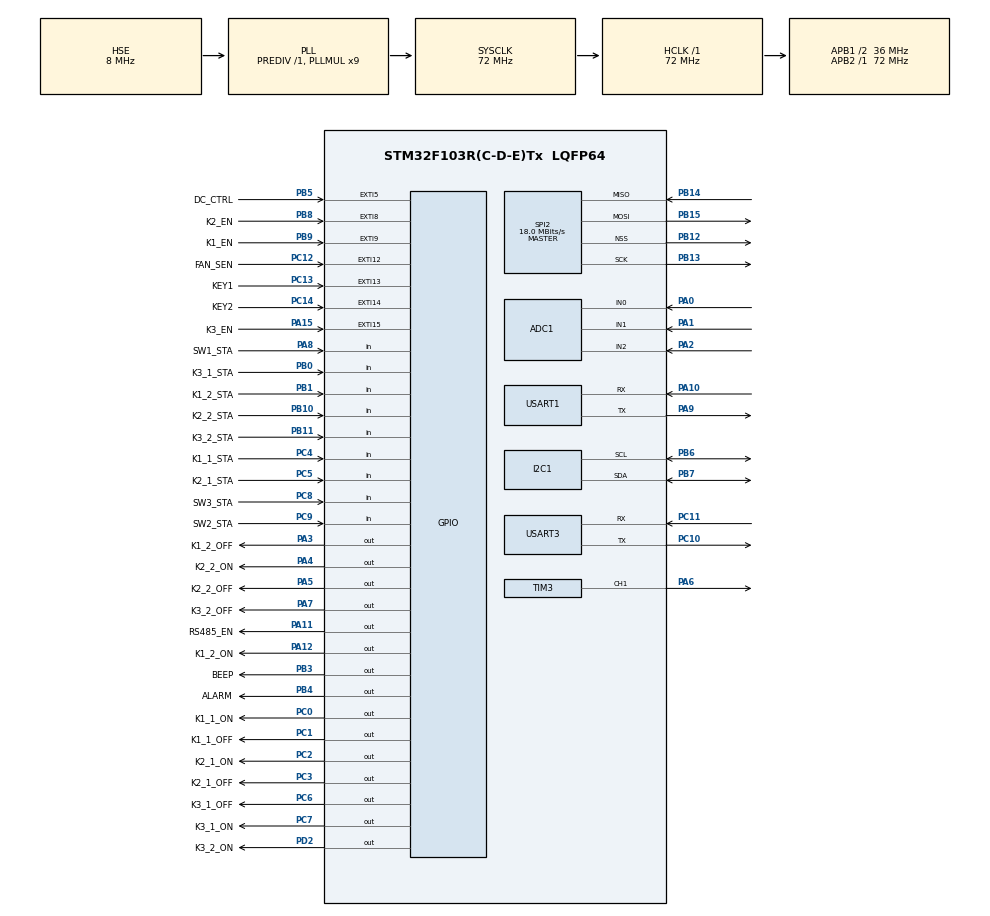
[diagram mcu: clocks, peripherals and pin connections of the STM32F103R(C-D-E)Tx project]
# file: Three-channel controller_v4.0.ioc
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ADC1.Channel-0\#ChannelRegularConversion=ADC_CHANNEL_0
ADC1.Channel-1\#ChannelRegularConversion=ADC_CHANNEL_1
ADC1.Channel-2\#ChannelRegularConversion=ADC_CHANNEL_2
ADC1.ContinuousConvMode=ENABLE
ADC1.NbrOfConversion=3
ADC1.NbrOfConversionFlag=1
ADC1.Rank-0\#ChannelRegularConversion=1
ADC1.Rank-1\#ChannelRegularConversion=2
ADC1.Rank-2\#ChannelRegularConversion=3
ADC1.SamplingTime-0\#ChannelRegularConversion=ADC_SAMPLETIME_55CYCLES_5
ADC1.SamplingTime-1\#ChannelRegularConversion=ADC_SAMPLETIME_55CYCLES_5
ADC1.SamplingTime-2\#ChannelRegularConversion=ADC_SAMPLETIME_55CYCLES_5
ADC1.master=1
Dma.ADC1.0.Direction=DMA_PERIPH_TO_MEMORY
Dma.ADC1.0.Instance=DMA1_Channel1
Dma.ADC1.0.MemDataAlignment=DMA_MDATAALIGN_HALFWORD
Dma.ADC1.0.MemInc=DMA_MINC_ENABLE
Dma.ADC1.0.Mode=DMA_CIRCULAR
Dma.ADC1.0.PeriphDataAlignment=DMA_PDATAALIGN_HALFWORD
Dma.ADC1.0.PeriphInc=DMA_PINC_DISABLE
Dma.ADC1.0.Priority=DMA_PRIORITY_LOW
Dma.Request0=ADC1
Mcu.Family=STM32F1
Mcu.Name=STM32F103R(C-D-E)Tx
Mcu.Package=LQFP64
NVIC.ADC1_2_IRQn=true\:5\:0\:true\:false\:true\:true\:true\:true
NVIC.EXTI15_10_IRQn=true\:4\:0\:true\:false\:true\:true\:true\:true
NVIC.EXTI9_5_IRQn=true\:4\:0\:true\:false\:true\:true\:true\:true
NVIC.PriorityGroup=NVIC_PRIORITYGROUP_4
NVIC.USART3_IRQn=true\:0\:0\:false\:false\:true\:true\:true\:true
PA0-WKUP.Signal=ADCx_IN0
PA1.Signal=ADCx_IN1
PA10.Mode=Asynchronous
PA10.Signal=USART1_RX
PA11.GPIO_Label=RS485_EN
PA11.GPIO_PuPd=GPIO_PULLDOWN
PA11.GPIO_Speed=GPIO_SPEED_FREQ_HIGH
PA11.PinState=GPIO_PIN_RESET
PA11.Signal=GPIO_Output
PA12.GPIO_Label=K1_2_ON
PA12.GPIO_PuPd=GPIO_PULLUP
PA12.GPIO_Speed=GPIO_SPEED_FREQ_HIGH
PA12.PinState=GPIO_PIN_SET
PA12.Signal=GPIO_Output
PA13.Mode=Serial_Wire
PA13.Signal=SYS_JTMS-SWDIO
PA14.Mode=Serial_Wire
PA14.Signal=SYS_JTCK-SWCLK
PA15.GPIO_Label=K3_EN
PA15.GPIO_ModeDefaultEXTI=GPIO_MODE_IT_RISING_FALLING
PA15.GPIO_PuPd=GPIO_PULLUP
PA15.Signal=GPXTI15
PA2.Signal=ADCx_IN2
PA3.GPIO_Label=K1_2_OFF
PA3.GPIO_PuPd=GPIO_PULLUP
PA3.GPIO_Speed=GPIO_SPEED_FREQ_HIGH
PA3.PinState=GPIO_PIN_SET
PA3.Signal=GPIO_Output
PA4.GPIO_Label=K2_2_ON
PA4.GPIO_PuPd=GPIO_PULLUP
PA4.GPIO_Speed=GPIO_SPEED_FREQ_HIGH
PA4.PinState=GPIO_PIN_SET
PA4.Signal=GPIO_Output
PA5.GPIO_Label=K2_2_OFF
PA5.GPIO_PuPd=GPIO_PULLUP
PA5.GPIO_Speed=GPIO_SPEED_FREQ_HIGH
PA5.PinState=GPIO_PIN_SET
PA5.Signal=GPIO_Output
PA6.Signal=S_TIM3_CH1
PA7.GPIO_Label=K3_2_OFF
PA7.GPIO_PuPd=GPIO_PULLUP
PA7.GPIO_Speed=GPIO_SPEED_FREQ_HIGH
PA7.PinState=GPIO_PIN_SET
PA7.Signal=GPIO_Output
PA8.GPIO_Label=SW1_STA
PA8.GPIO_PuPd=GPIO_PULLDOWN
PA8.Signal=GPIO_Input
PA9.Mode=Asynchronous
PA9.Signal=USART1_TX
PB0.GPIO_Label=K3_1_STA
PB0.GPIO_PuPd=GPIO_PULLDOWN
PB0.Signal=GPIO_Input
PB1.GPIO_Label=K1_2_STA
PB1.GPIO_PuPd=GPIO_PULLDOWN
PB1.Signal=GPIO_Input
PB10.GPIO_Label=K2_2_STA
PB10.GPIO_PuPd=GPIO_PULLDOWN
PB10.Signal=GPIO_Input
PB11.GPIO_Label=K3_2_STA
PB11.GPIO_PuPd=GPIO_PULLDOWN
PB11.Signal=GPIO_Input
PB12.Mode=NSS_Signal_Hard_Output
PB12.Signal=SPI2_NSS
PB13.Mode=Full_Duplex_Master
PB13.Signal=SPI2_SCK
PB14.Mode=Full_Duplex_Master
PB14.Signal=SPI2_MISO
PB15.Mode=Full_Duplex_Master
PB15.Signal=SPI2_MOSI
PB3.GPIO_Label=BEEP
PB3.GPIO_PuPd=GPIO_PULLUP
PB3.GPIO_Speed=GPIO_SPEED_FREQ_HIGH
PB3.PinState=GPIO_PIN_SET
PB3.Signal=GPIO_Output
PB4.GPIO_Label=ALARM
PB4.GPIO_PuPd=GPIO_PULLUP
PB4.GPIO_Speed=GPIO_SPEED_FREQ_HIGH
PB4.PinState=GPIO_PIN_SET
PB4.Signal=GPIO_Output
PB5.GPIO_Label=DC_CTRL
PB5.GPIO_ModeDefaultEXTI=GPIO_MODE_IT_RISING_FALLING
PB5.GPIO_PuPd=GPIO_PULLUP
PB5.Signal=GPXTI5
PB6.Mode=I2C
PB6.Signal=I2C1_SCL
PB7.Mode=I2C
PB7.Signal=I2C1_SDA
PB8.GPIO_Label=K2_EN
PB8.GPIO_ModeDefaultEXTI=GPIO_MODE_IT_RISING_FALLING
PB8.Signal=GPXTI8
PB9.GPIO_Label=K1_EN
PB9.GPIO_ModeDefaultEXTI=GPIO_MODE_IT_RISING_FALLING
PB9.GPIO_PuPd=GPIO_PULLUP
PB9.Signal=GPXTI9
PC0.GPIO_Label=K1_1_ON
PC0.GPIO_PuPd=GPIO_PULLUP
PC0.GPIO_Speed=GPIO_SPEED_FREQ_HIGH
PC0.PinState=GPIO_PIN_SET
PC0.Signal=GPIO_Output
PC1.GPIO_Label=K1_1_OFF
PC1.GPIO_PuPd=GPIO_PULLUP
PC1.GPIO_Speed=GPIO_SPEED_FREQ_HIGH
PC1.PinState=GPIO_PIN_SET
PC1.Signal=GPIO_Output
PC10.Mode=Asynchronous
PC10.Signal=USART3_TX
PC11.Mode=Asynchronous
PC11.Signal=USART3_RX
PC12.GPIO_Label=FAN_SEN
PC12.GPIO_PuPd=GPIO_PULLUP
PC12.Signal=GPXTI12
PC13-TAMPER-RTC.GPIO_Label=KEY1
PC13-TAMPER-RTC.GPIO_ModeDefaultEXTI=GPIO_MODE_IT_RISING_FALLING
PC13-TAMPER-RTC.GPIO_PuPd=GPIO_PULLUP
PC13-TAMPER-RTC.Signal=GPXTI13
PC14-OSC32_IN.GPIO_Label=KEY2
PC14-OSC32_IN.GPIO_ModeDefaultEXTI=GPIO_MODE_IT_RISING_FALLING
PC14-OSC32_IN.GPIO_PuPd=GPIO_PULLUP
PC14-OSC32_IN.Signal=GPXTI14
PC2.GPIO_Label=K2_1_ON
PC2.GPIO_PuPd=GPIO_PULLUP
PC2.GPIO_Speed=GPIO_SPEED_FREQ_HIGH
PC2.PinState=GPIO_PIN_SET
PC2.Signal=GPIO_Output
PC3.GPIO_Label=K2_1_OFF
PC3.GPIO_PuPd=GPIO_PULLUP
PC3.GPIO_Speed=GPIO_SPEED_FREQ_HIGH
PC3.PinState=GPIO_PIN_SET
PC3.Signal=GPIO_Output
PC4.GPIO_Label=K1_1_STA
PC4.GPIO_PuPd=GPIO_PULLDOWN
PC4.Signal=GPIO_Input
PC5.GPIO_Label=K2_1_STA
PC5.GPIO_PuPd=GPIO_PULLDOWN
PC5.Signal=GPIO_Input
PC6.GPIO_Label=K3_1_OFF
PC6.GPIO_PuPd=GPIO_PULLUP
PC6.GPIO_Speed=GPIO_SPEED_FREQ_HIGH
PC6.PinState=GPIO_PIN_SET
PC6.Signal=GPIO_Output
PC7.GPIO_Label=K3_1_ON
PC7.GPIO_PuPd=GPIO_PULLUP
PC7.GPIO_Speed=GPIO_SPEED_FREQ_HIGH
PC7.PinState=GPIO_PIN_SET
PC7.Signal=GPIO_Output
PC8.GPIO_Label=SW3_STA
PC8.GPIO_PuPd=GPIO_PULLDOWN
PC8.Signal=GPIO_Input
PC9.GPIO_Label=SW2_STA
PC9.GPIO_PuPd=GPIO_PULLDOWN
PC9.Signal=GPIO_Input
PD0-OSC_IN.Mode=HSE-External-Oscillator
PD0-OSC_IN.Signal=RCC_OSC_IN
PD1-OSC_OUT.Mode=HSE-External-Oscillator
PD1-OSC_OUT.Signal=RCC_OSC_OUT
PD2.GPIO_Label=K3_2_ON
PD2.GPIO_PuPd=GPIO_PULLUP
PD2.GPIO_Speed=GPIO_SPEED_FREQ_HIGH
PD2.PinState=GPIO_PIN_SET
PD2.Signal=GPIO_Output
ProjectManager.HeapSize=0x200
ProjectManager.StackSize=0x400
ProjectManager.TargetToolchain=MDK-ARM V5.32
RCC.ADCPresc=RCC_ADCPCLK2_DIV6
RCC.AHBFreq_Value=72000000
RCC.APB1CLKDivider=RCC_HCLK_DIV2
RCC.APB1Freq_Value=36000000
RCC.APB1TimFreq_Value=72000000
RCC.APB2Freq_Value=72000000
RCC.APB2TimFreq_Value=72000000
RCC.HCLKFreq_Value=72000000
RCC.PLLMUL=RCC_PLL_MUL9
RCC.PLLSourceVirtual=RCC_PLLSOURCE_HSE
RCC.SYSCLKFreq_VALUE=72000000
RCC.SYSCLKSource=RCC_SYSCLKSOURCE_PLLCLK
RCC.USBFreq_Value=72000000
SH.ADCx_IN0.0=ADC1_IN0,IN0
SH.ADCx_IN1.0=ADC1_IN1,IN1
SH.ADCx_IN2.0=ADC1_IN2,IN2
SH.S_TIM3_CH1.0=TIM3_CH1,PWM Generation1 CH1
SPI2.CalculateBaudRate=18.0 MBits/s
SPI2.Direction=SPI_DIRECTION_2LINES
SPI2.Mode=SPI_MODE_MASTER
SPI2.VirtualNSS=VM_NSSHARD
SPI2.VirtualType=VM_MASTER
TIM3.Channel-PWM\ Generation1\ CH1=TIM_CHANNEL_1
TIM3.Period=99
TIM3.Prescaler=35
TIM3.Pulse-PWM\ Generation1\ CH1=50
USART1.VirtualMode=VM_ASYNC
USART3.VirtualMode=VM_ASYNC
VP_TIM3_VS_ClockSourceINT.Mode=Internal
board=custom

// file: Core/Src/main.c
/* USER CODE BEGIN Header */
/**
  ******************************************************************************
  * @file           : main.c
  * @brief          : Main program body
  ******************************************************************************
  * @attention
  *
  * Copyright (c) 2026 STMicroelectronics.
  * All rights reserved.
  *
  * This software is licensed under terms that can be found in the LICENSE file
  * in the root directory of this software component.
  * If no LICENSE file comes with this software, it is provided AS-IS.
  *
  ******************************************************************************
  */
/* USER CODE END Header */
#include "main.h"
#include "adc.h"
#include "dma.h"
#include "i2c.h"
#include "spi.h"
#include "tim.h"
#include "usart.h"
#include "gpio.h"

/* USER CODE BEGIN Includes */
#include "common_def.h"
#include "temperature.h"
#include "oled_display.h"
#include "alarm_output.h"
#include "relay_control.h"
#include "safety_monitor.h"
#include "self_test.h"
#include "w25q_flash.h"
#include "data_logger.h"
#include <stdlib.h>
#include <string.h>
/* USER CODE END Includes */

void SystemClock_Config(void);
/* USER CODE BEGIN PFP */
static void update_oled_main_screen(void);
/* USER CODE END PFP */

int main(void)
{

  /* MCU Configuration--------------------------------------------------------*/

  /* Reset of all peripherals, Initializes the Flash interface and the Systick. */
  HAL_Init();

  /* Configure the system clock */
  SystemClock_Config();

  /* Initialize all configured peripherals */
  MX_GPIO_Init();
  MX_DMA_Init();
  MX_ADC1_Init();
  MX_TIM3_Init();
  MX_I2C1_Init();
  MX_SPI2_Init();
  MX_USART1_UART_Init();
  MX_USART3_UART_Init();
  /* USER CODE BEGIN 2 */
  printf("[System] Boot v4.0 - Three-channel Controller\r\n");

  Temperature_Init();
  OLED_Init();
  Alarm_Init();
  Relay_Init();
  Safety_Init();

  /* 初始化外部 Flash 及日志模块 */
  if (W25Q_Init() == W25Q_OK) {
    DataLogger_Init();
  } else {
    printf("[System] W25Q Flash init FAILED, logging disabled\r\n");
  }

  printf("[System] All modules initialized, starting self-test\r\n");
  SelfTest_Start();

  /* USER CODE END 2 */

  /* Infinite loop */
  /* USER CODE BEGIN WHILE */
  uint32_t tick_20ms     = 0U;
  uint32_t tick_50ms     = 0U;
  uint32_t tick_100ms    = 0U;
  uint32_t tick_500ms    = 0U;
  uint32_t tick_1s       = 0U;
  uint32_t tick_selftest = 0U;

  while (1)
  {
    /* USER CODE END WHILE */

    /* USER CODE BEGIN 3 */

    uint32_t now = HAL_GetTick();

    /* 20ms task: relay FSM + 按键长按扫描（始终运行）*/
    if ((now - tick_20ms) >= 20U)
    {
      tick_20ms = now;
      Relay_Update();
      DataLogger_KeyScan();
    }

    /* 50ms task: alarm output drive (always runs) */
    if ((now - tick_50ms) >= 50U)
    {
      tick_50ms = now;
      Alarm_Update();
    }

    if (SelfTest_IsRunning())
    {
      /* During self-test: advance state machine every 20ms */
      if ((now - tick_selftest) >= 20U)
      {
        tick_selftest = now;
        SelfTest_Update();
      }
    }
    else
    {
      /* 100ms: safety monitor + 日志后台任务 */
      if ((now - tick_100ms) >= 100U)
      {
        tick_100ms = now;
        Safety_Update();
        DataLogger_BackgroundTask();
      }

      /* 500ms: OLED main screen or log view refresh */
      if ((now - tick_500ms) >= 500U)
      {
        tick_500ms = now;
        if (DataLogger_IsOledLogActive())
          DataLogger_OledLogRefresh();
        else
          update_oled_main_screen();
      }

      /* 1s: temperature update (1sHandler is called internally by Temperature_Update) */
      if ((now - tick_1s) >= 1000U)
      {
        tick_1s = now;
        Temperature_Update();
      }
    }
  }
  /* USER CODE END 3 */
}

void SystemClock_Config(void)
{
  RCC_OscInitTypeDef RCC_OscInitStruct = {0};
  RCC_ClkInitTypeDef RCC_ClkInitStruct = {0};
  RCC_PeriphCLKInitTypeDef PeriphClkInit = {0};

  /** Initializes the RCC Oscillators according to the specified parameters
  * in the RCC_OscInitTypeDef structure.
  */
  RCC_OscInitStruct.OscillatorType = RCC_OSCILLATORTYPE_HSE;
  RCC_OscInitStruct.HSEState = RCC_HSE_ON;
  RCC_OscInitStruct.HSEPredivValue = RCC_HSE_PREDIV_DIV1;
  RCC_OscInitStruct.HSIState = RCC_HSI_ON;
  RCC_OscInitStruct.PLL.PLLState = RCC_PLL_ON;
  RCC_OscInitStruct.PLL.PLLSource = RCC_PLLSOURCE_HSE;
  RCC_OscInitStruct.PLL.PLLMUL = RCC_PLL_MUL9;
  if (HAL_RCC_OscConfig(&RCC_OscInitStruct) != HAL_OK)
  {
    Error_Handler();
  }

  /** Initializes the CPU, AHB and APB buses clocks
  */
  RCC_ClkInitStruct.ClockType = RCC_CLOCKTYPE_HCLK|RCC_CLOCKTYPE_SYSCLK
                              |RCC_CLOCKTYPE_PCLK1|RCC_CLOCKTYPE_PCLK2;
  RCC_ClkInitStruct.SYSCLKSource = RCC_SYSCLKSOURCE_PLLCLK;
  RCC_ClkInitStruct.AHBCLKDivider = RCC_SYSCLK_DIV1;
  RCC_ClkInitStruct.APB1CLKDivider = RCC_HCLK_DIV2;
  RCC_ClkInitStruct.APB2CLKDivider = RCC_HCLK_DIV1;

  if (HAL_RCC_ClockConfig(&RCC_ClkInitStruct, FLASH_LATENCY_2) != HAL_OK)
  {
    Error_Handler();
  }
  PeriphClkInit.PeriphClockSelection = RCC_PERIPHCLK_ADC;
  PeriphClkInit.AdcClockSelection = RCC_ADCPCLK2_DIV6;
  if (HAL_RCCEx_PeriphCLKConfig(&PeriphClkInit) != HAL_OK)
  {
    Error_Handler();
  }
}

/* USER CODE BEGIN 4 */

/**
 * @brief  Update OLED runtime main screen (called every 500ms)
 *
 * Screen layout (128x64, 6x8 font, 8 rows):
 *   Row 0 : Alarm status  - "Alarm: Normal" or "ERR: A B K ..."
 *   Row 1 : separator line at y=15
 *   Row 2 : Channel state - "CH:1=ON  2=OFF 3=OFF"
 *   Row 3-4: reserved
 *   Row 5 : separator line at y=47
 *   Row 6 : Temperatures  - "25.6/27.3/24.8C"
 *   Row 7 : Fan status    - "Fan:50%  RPM:1200"
 */
static void update_oled_main_screen(void)
{
  char      buf[22];
  uint16_t  err_flags;
  Channel_e active_ch;
  int16_t   t1, t2, t3;
  uint8_t   fan_spd;
  uint16_t  fan_rpm;
  uint8_t   idx;
  uint8_t   i;
  uint8_t   tlen;
  uint8_t   tx;

  err_flags = Alarm_GetErrorFlags();
  active_ch = Relay_GetActiveChannel();
  Temperature_GetValues(&t1, &t2, &t3);
  fan_spd   = Temperature_GetFanSpeed();
  fan_rpm   = Temperature_GetFanRPM();

  /* -- 鎶ヨ鍖� row0 (y=0~7) + 鍒嗗壊绾� y=15 -- */
  OLED_ClearArea(OLED_AREA_ALARM);
  if (err_flags == (uint16_t)ERROR_TYPE_NONE)
  {
    OLED_ShowString(0, 0, "Alarm: Normal       ", OLED_FONT_6X8);
    OLED_ShowString(0, 1, "                    ", OLED_FONT_6X8);
  }
  else
  {
    idx = 0U;
    buf[idx++] = 'E'; buf[idx++] = 'R'; buf[idx++] = 'R'; buf[idx++] = ':';
    for (i = 0U; i < 15U; i++)
    {
      if (((err_flags >> i) & 0x01U) != 0U)
      {
        if (idx < 19U) { buf[idx++] = (char)('A' + (char)i); buf[idx++] = ' '; }
      }
    }
    while (idx < 20U) { buf[idx++] = ' '; }
    buf[20] = '\0';
    OLED_ShowString(0, 0, buf, OLED_FONT_6X8);
    for (i = 0U; i < 15U; i++)
    {
      if (((err_flags >> i) & 0x01U) != 0U)
      {
        const char *name = CommonDef_GetErrorString((ErrorType_e)(1U << i));
        snprintf(buf, sizeof(buf), "%-20s", name ? name : "?");
        buf[20] = '\0';
        OLED_ShowString(0, 1, buf, OLED_FONT_6X8);
        break;
      }
    }
  }
  OLED_DrawLine(0, 15, 127, 15);

  /* -- 閫氶亾鍖� row2~4锛氫笁璺垎琛屾樉绀猴紝row5 鐣欑┖锛屽垎鍓茬嚎 y=47 -- */
  OLED_ClearArea(OLED_AREA_CHANNEL);
  snprintf(buf, sizeof(buf), "CH:1=%s", (active_ch == CHANNEL_1) ? "ON " : "OFF");
  OLED_ShowString(0, 2, buf, OLED_FONT_6X8);
  snprintf(buf, sizeof(buf), "CH:2=%s", (active_ch == CHANNEL_2) ? "ON " : "OFF");
  OLED_ShowString(0, 3, buf, OLED_FONT_6X8);
  snprintf(buf, sizeof(buf), "CH:3=%s", (active_ch == CHANNEL_3) ? "ON " : "OFF");
  OLED_ShowString(0, 4, buf, OLED_FONT_6X8);
  OLED_DrawLine(0, 47, 127, 47);

  /* -- 娓╁害/椋庢墖鍖� row6~7 -- */
  OLED_ClearArea(OLED_AREA_TEMP);

  /* row6锛氭暣鏁版俯搴﹀眳涓樉绀猴紝鏍煎紡 "T1:XX T2:XX T3:XX"锛堟棤"C"鍚庣紑锛� */
  snprintf(buf, sizeof(buf), "T1:%2d T2:%2d T3:%2d",
           (int)(t1 / 10), (int)(t2 / 10), (int)(t3 / 10));
  tlen = (uint8_t)strlen(buf);
  tx   = (uint8_t)((128U - (uint16_t)tlen * 6U) / 2U);
  OLED_ShowString(tx, 6, buf, OLED_FONT_6X8);

  /* row7锛氶鎵囧崰绌烘瘮 + 杞€� */
  snprintf(buf, sizeof(buf), "Fan:%d%%  RPM:%d", fan_spd, fan_rpm);
  OLED_ShowString(0, 7, buf, OLED_FONT_6X8);

  OLED_Refresh();
}

/* USER CODE END 4 */

void Error_Handler(void)
{
  __disable_irq();
  while (1)
  {
  }
}
